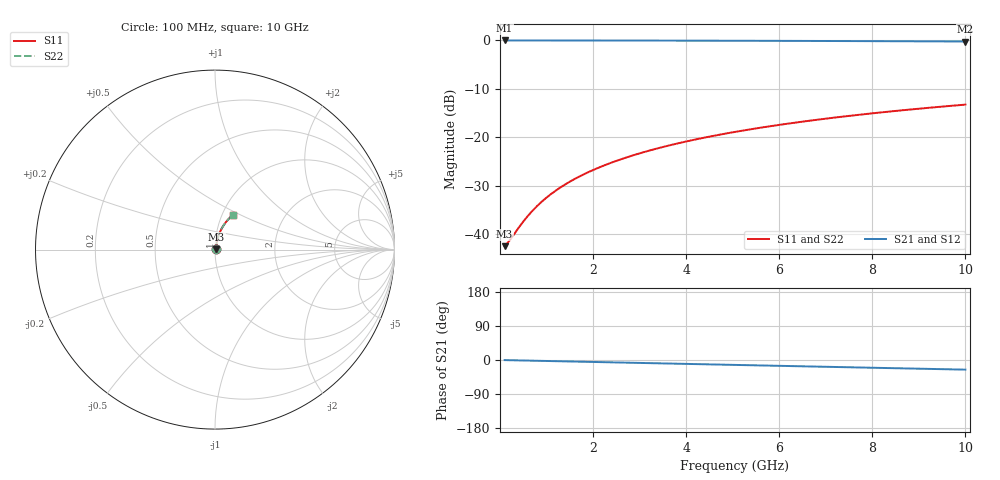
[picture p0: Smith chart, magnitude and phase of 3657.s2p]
# Hz S RI R 50.00
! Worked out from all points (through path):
!   100 points, 100 MHz to 10 GHz, reference 50 ohm
!   highest |S21| = -0.06 dB at 100 MHz (marker M1); lowest = -0.3 dB at 10 GHz (marker M2)
!   group delay of S21, straight-line fit = 7.07 ps
!   lowest |S11| = -42.5 dB at 100 MHz (marker M3), VSWR 1.02, Z = 50.7 + j0.227 ohm
!   |S11| at or under -10 dB: start of sweep to end of sweep
!   |S22| runs from -42.5 to -13.3 dB; largest |S21 - S12| = 0
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1e8  0.00719 0.00224  0.9928 -0.00446  0.9928 -0.00446  0.00719 0.00224
2e8  0.00727 0.00447  0.9927 -0.00892  0.9927 -0.00892  0.00727 0.00447
4e8  0.00745 0.00894  0.9925 -0.0178  0.9925 -0.0178  0.00745 0.00894
5e8  0.00757 0.0112  0.9924 -0.0223  0.9924 -0.0223  0.00757 0.0112
6e8  0.0077 0.0134  0.9922 -0.0267  0.9922 -0.0267  0.0077 0.0134
7e8  0.00785 0.0156  0.992 -0.0312  0.992 -0.0312  0.00785 0.0156
9e8  0.0082 0.0201  0.9916 -0.0401  0.9916 -0.0401  0.0082 0.0201
1.1e9  0.00863 0.0245  0.991 -0.049  0.991 -0.049  0.00863 0.0245
1.3e9  0.00914 0.029  0.9904 -0.0579  0.9904 -0.0579  0.00914 0.029
1.5e9  0.00972 0.0334  0.9897 -0.0668  0.9897 -0.0668  0.00972 0.0334
1.8e9  0.0107 0.04  0.9884 -0.0801  0.9884 -0.0801  0.0107 0.04
2.1e9  0.0119 0.0466  0.9869 -0.0933  0.9869 -0.0933  0.0119 0.0466
2.5e9  0.0138 0.0553  0.9846 -0.111  0.9846 -0.111  0.0138 0.0553
2.9e9  0.016 0.0639  0.9819 -0.1285  0.9819 -0.1285  0.016 0.0639
3.4e9  0.0191 0.0746  0.9779 -0.1503  0.9779 -0.1503  0.0191 0.0746
4.2e9  0.0251 0.0913  0.9704 -0.1849  0.9704 -0.1849  0.0251 0.0913
5.1e9  0.0332 0.1095  0.9602 -0.2232  0.9602 -0.2232  0.0332 0.1095
5.9e9  0.0416 0.125  0.9495 -0.2566  0.9495 -0.2566  0.0416 0.125
6.7e9  0.0511 0.1398  0.9375 -0.2893  0.9375 -0.2893  0.0511 0.1398
7.5e9  0.0615 0.1539  0.9242 -0.3213  0.9242 -0.3213  0.0615 0.1539
8.4e9  0.0743 0.1687  0.9077 -0.3563  0.9077 -0.3563  0.0743 0.1687
1e10  0.0997 0.1923  0.8747 -0.4158  0.8747 -0.4158  0.0997 0.1923
